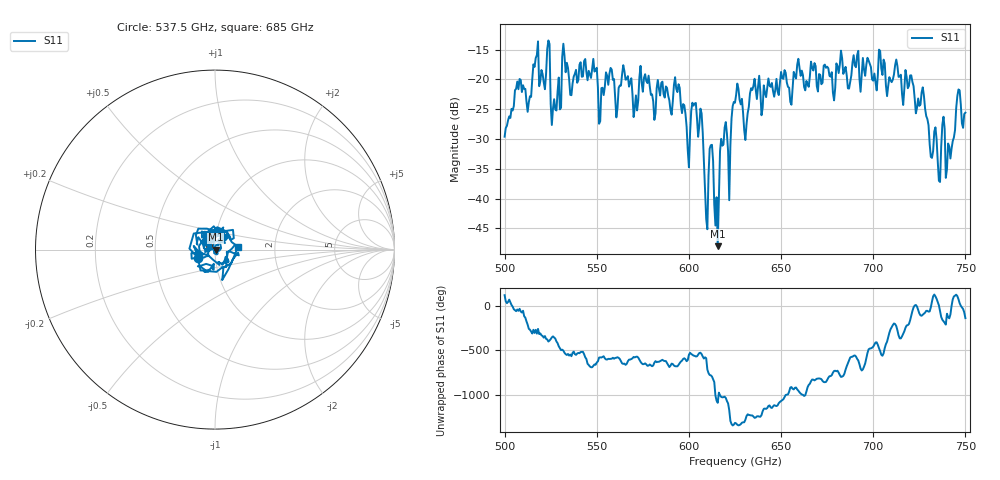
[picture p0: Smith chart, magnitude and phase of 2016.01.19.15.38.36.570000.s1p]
!Created with skrf (http://scikit-rf.org).
# GHz S RI R 50.0
!freq ReS11 ImS11
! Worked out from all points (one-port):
!   401 points, 500 GHz to 750 GHz, reference 50 ohm
!   lowest |S11| = -48.0 dB at 615.6 GHz (marker M1), VSWR 1.01, Z = 50.4 - j0.0479 ohm
!   |S11| at or under -10 dB: start of sweep to end of sweep
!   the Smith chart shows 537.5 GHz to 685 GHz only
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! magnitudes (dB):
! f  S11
! 500 GHz  -29.6
! 507.5 GHz  -21.6
! 513.1 GHz  -23.8
! 516.9 GHz  -16.4
! 523.8 GHz  -13.5
! 526.9 GHz  -23.3
! 531.2 GHz  -16.2
! 562.5 GHz  -21.0
! 593.8 GHz  -22.1
! 599.4 GHz  -31.9
! 603.1 GHz  -24.0
! 606.9 GHz  -25.7
! 609.4 GHz  -43.4
! 611.9 GHz  -31.1
! 615.6 GHz  -48.0
! 618.1 GHz  -31.1
! 621.9 GHz  -40.3
! 625 GHz  -23.9
! 630.6 GHz  -30.2
! 634.4 GHz  -21.8
! 656.2 GHz  -21.6
! 687.5 GHz  -20.4
! 718.8 GHz  -21.5
! 727.5 GHz  -22.7
! 735.6 GHz  -37.0
! 740.6 GHz  -30.8
! 746.2 GHz  -21.7
! 750 GHz  -25.6
